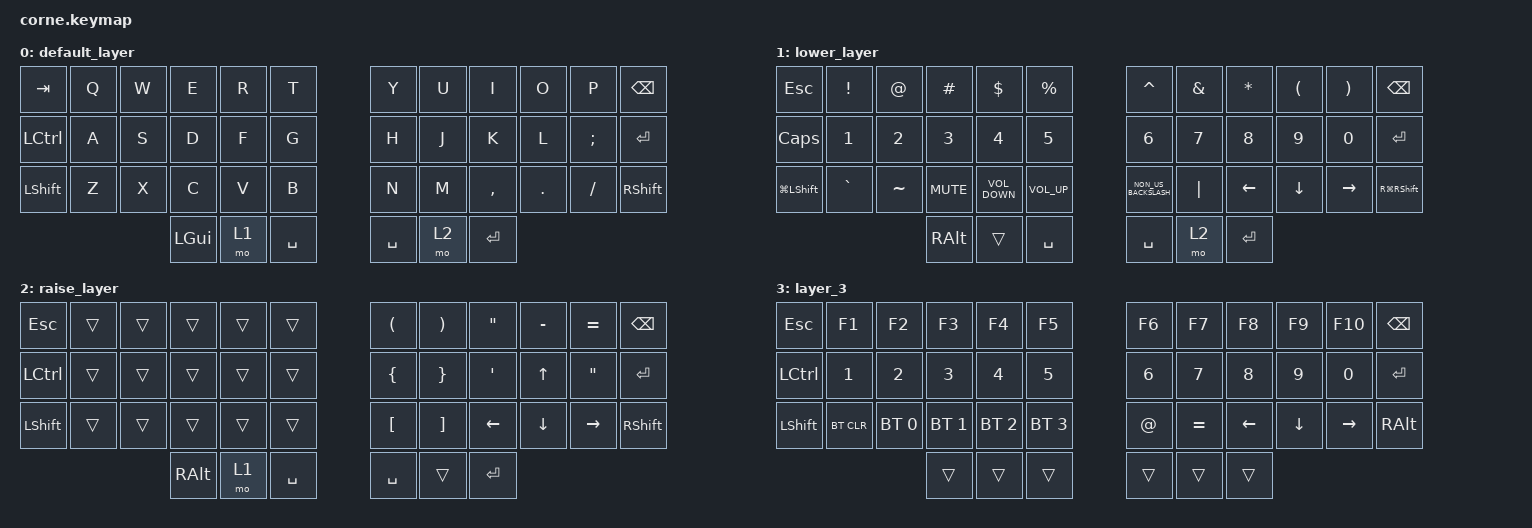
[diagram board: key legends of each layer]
/*
 * Copyright (c) 2020 The ZMK Contributors
 *
 * SPDX-License-Identifier: MIT
 */

#include <behaviors.dtsi>
#include <dt-bindings/zmk/keys.h>
#include <dt-bindings/zmk/bt.h>


/ {
    combos {
        compatible = "zmk,combos";

        copy {
            bindings = <&kp LG(C)>;
            key-positions = <36 27>;
            layers = <0 2 1 3>;
        };

        cut {
            bindings = <&kp LG(X)>;
            key-positions = <36 26>;
            layers = <0 1 2 3>;
        };

        select {
            bindings = <&kp LG(D)>;
            key-positions = <36 15>;
        };

        paste {
            bindings = <&kt LG(V)>;
            key-positions = <36 28>;
            layers = <0 1 2 3>;
        };
    };

    keymap {
        compatible = "zmk,keymap";

        default_layer {
            bindings = <
&kp TAB    &kp Q  &kp W  &kp E     &kp R  &kp T        &kp Y      &kp U  &kp I      &kp O    &kp P     &kp BSPC
&kp LCTRL  &kp A  &kp S  &kp D     &kp F  &kp G        &kp H      &kp J  &kp K      &kp L    &kp SEMI  &kp ENTER
&kp LSHFT  &kp Z  &kp X  &kp C     &kp V  &kp B        &kp N      &kp M  &kp COMMA  &kp DOT  &kp FSLH  &kp RIGHT_SHIFT
                         &kp LGUI  &mo 1  &kp SPACE    &kp SPACE  &mo 2  &kp ENTER
            >;
        };

        lower_layer {
            bindings = <
&kp ESC             &kp EXCLAMATION  &kp AT_SIGN  &kp HASH    &kp DOLLAR         &kp PERCENT        &kp CARET             &kp AMPERSAND  &kp ASTERISK    &kp LEFT_PARENTHESIS  &kp RIGHT_PARENTHESIS  &kp BACKSPACE
&kp CAPSLOCK        &kp N1           &kp N2       &kp N3      &kp N4             &kp N5             &kp N6                &kp N7         &kp N8          &kp N9                &kp N0                 &kp ENTER
&kp LG(LEFT_SHIFT)  &kp GRAVE        &kp TILDE    &kp C_MUTE  &kp C_VOLUME_DOWN  &kp C_VOLUME_UP    &kp NON_US_BACKSLASH  &kp PIPE       &kp LEFT_ARROW  &kp DOWN              &kp RIGHT              &kp RG(RIGHT_SHIFT)
                                                  &kp RALT    &trans             &kp SPACE          &kp SPACE             &mo 2          &kp ENTER
            >;
        };

        raise_layer {
            bindings = <
&kp ESC         &trans  &trans  &trans    &trans  &trans       &kp LEFT_PARENTHESIS  &kp RIGHT_PARENTHESIS  &kp DOUBLE_QUOTES  &kp MINUS  &kp EQUAL          &kp BACKSPACE
&kp LCTRL       &trans  &trans  &trans    &trans  &trans       &kp LEFT_BRACE        &kp RIGHT_BRACE        &kp SQT            &kp UP     &kp DOUBLE_QUOTES  &kp ENTER
&kp LEFT_SHIFT  &trans  &trans  &trans    &trans  &trans       &kp LEFT_BRACKET      &kp RIGHT_BRACKET      &kp LEFT           &kp DOWN   &kp RIGHT          &kp RIGHT_SHIFT
                                &kp RALT  &mo 1   &kp SPACE    &kp SPACE             &trans                 &kp ENTER
            >;
        };

        layer_3 {
            bindings = <
&kp ESC         &kp F1      &kp F2        &kp F3        &kp F4        &kp F5          &kp F6       &kp F7     &kp F8    &kp F9    &kp F10    &kp BACKSPACE
&kp LCTRL       &kp N1      &kp N2        &kp N3        &kp N4        &kp N5          &kp N6       &kp N7     &kp N8    &kp N9    &kp N0     &kp ENTER
&kp LEFT_SHIFT  &bt BT_CLR  &bt BT_SEL 0  &bt BT_SEL 1  &bt BT_SEL 2  &bt BT_SEL 3    &kp AT_SIGN  &kp EQUAL  &kp LEFT  &kp DOWN  &kp RIGHT  &kp RALT
                                          &trans        &trans        &trans          &trans       &trans     &trans
            >;
        };
    };

    conditional_layers {
        compatible = "zmk,conditional-layers";

        both {
            if-layers = <1 2>;
            then-layer = <3>;
        };
    };
};
